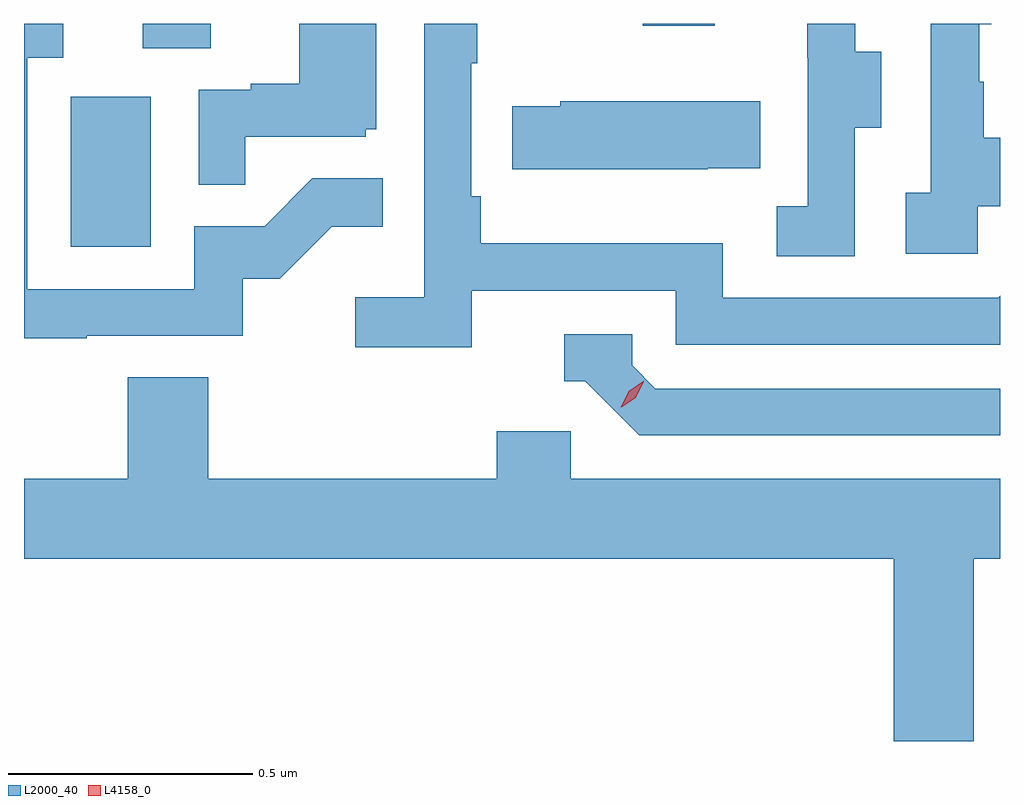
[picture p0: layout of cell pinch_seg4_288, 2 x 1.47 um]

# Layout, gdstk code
import gdstk
lib = gdstk.Library(unit=1e-6, precision=1e-09)
def R(c, l, rs):  # rectangles x0, y0, x1, y1
    for r in rs: c.add(gdstk.rectangle(r[:2], r[2:], *l))
def P(c, l, *ps):  # polygons
    for p in ps: c.add(gdstk.Polygon(p, *l))
L2000_40 = (2000, 40)
L4158_0 = (4158, 0)

pinch_seg4_288 = lib.new_cell('pinch_seg4_288')
R(pinch_seg4_288, L2000_40, [(894.59,808.116,894.754,808.423), (894.737,808.522,894.877,808.573), (895.762,808.569,895.909,808.573)])
P(pinch_seg4_288, L2000_40, [(896.196,808.36),(896.251,808.36),(896.251,808.515),(896.197,808.515),(896.197,808.573),(896.099,808.573),(896.099,808.503),(896.1,808.503),(896.1,808.199),(896.037,808.199),(896.037,808.096),(896.196,808.096)],
  [(896.448,808.199),(896.494,808.199),(896.494,808.339),(896.461,808.339),(896.461,808.454),(896.451,808.454),(896.451,808.572),(896.476,808.572),(896.476,808.573),(896.352,808.573),(896.352,808.226),(896.301,808.226),(896.301,808.101),(896.448,808.101)],
  [(894.947,808.341),(895.194,808.341),(895.194,808.356),(895.216,808.356),(895.216,808.573),(895.058,808.573),(895.058,808.45),(894.959,808.45),(894.959,808.437),(894.852,808.437),(894.852,808.243),(894.947,808.243)],
  [(894.623,807.933),(894.942,807.933),(894.942,808.05),(895.018,808.05),(895.125,808.157),(895.229,808.157),(895.229,808.256),(895.085,808.256),(894.987,808.158),(894.843,808.158),(894.843,808.029),(894.501,808.029),(894.501,808.503),(894.574,808.503),(894.574,808.573),(894.494,808.573),(894.494,807.928),(894.623,807.928)],
  [(895.412,808.026),(895.83,808.026),(895.83,807.915),(896.494,807.915),(896.494,808.015),(896.49,808.011),(895.926,808.011),(895.926,808.123),(895.43,808.123),(895.43,808.219),(895.41,808.219),(895.41,808.492),(895.423,808.492),(895.423,808.573),(895.314,808.573),(895.314,808.012),(895.173,808.012),(895.173,807.91),(895.412,807.91)],
  [(895.895,808.277),(896.003,808.277),(896.003,808.414),(895.593,808.414),(895.593,808.404),(895.495,808.404),(895.495,808.274),(895.895,808.274)],
  [(896.494,807.825),(895.788,807.825),(895.74,807.873),(895.74,807.936),(895.601,807.936),(895.601,807.84),(895.644,807.84),(895.755,807.729),(896.494,807.729)],
  [(896.44,807.476),(896.494,807.476),(896.494,807.64),(895.614,807.64),(895.614,807.738),(895.463,807.738),(895.463,807.64),(894.872,807.64),(894.872,807.848),(894.707,807.848),(894.707,807.64),(894.494,807.64),(894.494,807.476),(896.276,807.476),(896.276,807.102),(896.44,807.102)])
P(pinch_seg4_288, L4158_0, [(895.717,807.787),(895.717,807.787),(895.733,807.82),(895.763,807.84),(895.764,807.84),(895.764,807.839),(895.748,807.806),(895.718,807.787)])

lib.write_gds('pinch_seg4_288.gds')
